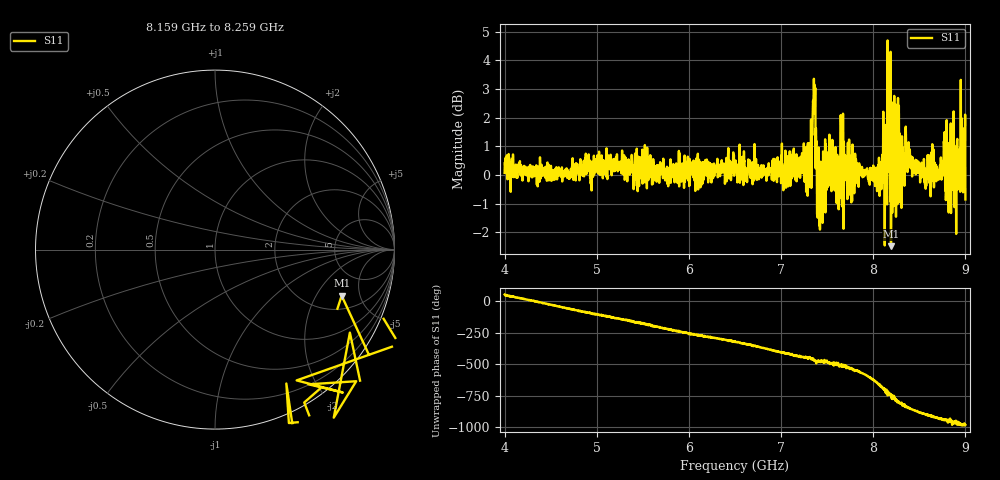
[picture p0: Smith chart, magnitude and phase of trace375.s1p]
! Created with skrf 1.8.0 (http://scikit-rf.org).
# Hz S RI R 50.0
!freq ReS11 ImS11
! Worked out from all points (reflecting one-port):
!   1601 points, 4 GHz to 9 GHz, reference 50 ohm
!   lowest |S11| = -2.5 dB at 8.194 GHz (marker M1), VSWR 7.03, Z = 143 - j168 ohm
!   phase of S11 starts at 55 deg and turns -1039 deg over the sweep
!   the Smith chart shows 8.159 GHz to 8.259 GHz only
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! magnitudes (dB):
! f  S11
! 4 GHz  0.1
! 4.625 GHz  -0.2
! 5.25 GHz  0.3
! 5.875 GHz  0.1
! 6.5 GHz  0.4
! 7.125 GHz  0.0
! 7.297 GHz  0.4
! 7.356 GHz  3.4
! 7.369 GHz  2.9
! 7.4 GHz  0.6
! 7.428 GHz  -0.2
! 7.509 GHz  -0.4
! 7.616 GHz  -0.3
! 7.669 GHz  1.2
! 7.75 GHz  -0.5
! 8.066 GHz  0.1
! 8.162 GHz  0.1
! 8.194 GHz  -2.5
! 8.216 GHz  0.6
! 8.253 GHz  0.6
! 8.316 GHz  0.6
! 8.334 GHz  0.3
! 8.375 GHz  1.0
! 8.556 GHz  -0.3
! 8.775 GHz  1.5
! 8.919 GHz  -0.1
! 8.972 GHz  0.2
! 9 GHz  -0.9
